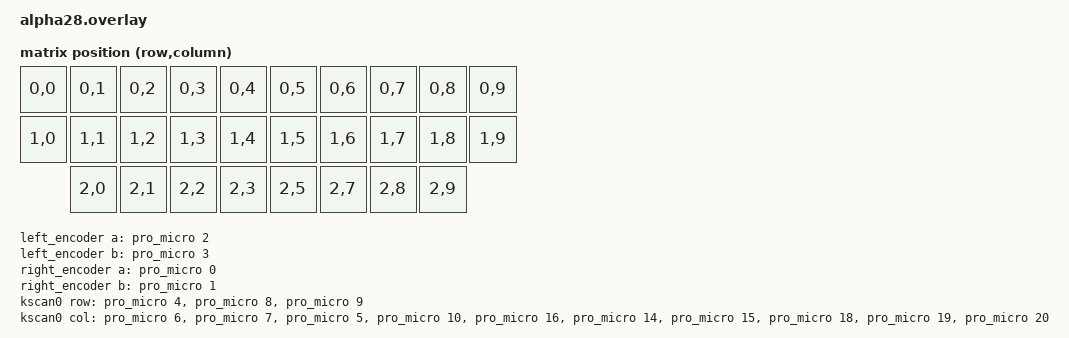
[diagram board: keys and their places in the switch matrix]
#include <dt-bindings/zmk/matrix_transform.h>
#include <dt-bindings/led/led.h>
/ {
    chosen {
        zmk,underglow = &led_strip;
        zmk,kscan = &kscan0;
        zmk,matrix_transform = &default_transform;
    };

    left_encoder: encoder_left {
        compatible = "alps,ec11";
        label = "LEFT_ENCODER";
        a-gpios = <&pro_micro 2 (GPIO_ACTIVE_HIGH  | GPIO_PULL_UP)>;
        b-gpios = <&pro_micro 3 (GPIO_ACTIVE_HIGH  | GPIO_PULL_UP)>;
        steps = <80>;
    };

    right_encoder: encoder_right {
        compatible = "alps,ec11";
        label = "RIGHT_ENCODER";
        a-gpios = <&pro_micro 0 (GPIO_ACTIVE_HIGH  | GPIO_PULL_UP)>;
        b-gpios = <&pro_micro 1 (GPIO_ACTIVE_HIGH  | GPIO_PULL_UP)>;
        steps = <80>;
    };

    sensors {
        compatible = "zmk,keymap-sensors";
        sensors = <&left_encoder &right_encoder>;
        triggers-per-rotation = <20>;
    };

    default_transform: keymap_transform_0 {
        compatible = "zmk,matrix-transform";
        columns = <10>;
        rows = <3>;

        map = <
            RC(0,0) RC(0,1) RC(0,2) RC(0,3) RC(0,4) RC(0,5) RC(0,6) RC(0,7) RC(0,8) RC(0,9)
            RC(1,0) RC(1,1) RC(1,2) RC(1,3) RC(1,4) RC(1,5) RC(1,6) RC(1,7) RC(1,8) RC(1,9)
                    RC(2,0) RC(2,1) RC(2,2) RC(2,3) RC(2,5) RC(2,7) RC(2,8) RC(2,9)
        >;
    };

    kscan0: kscan_0 {
        compatible = "zmk,kscan-gpio-matrix";
        label = "KSCAN";
        diode-direction = "col2row";

        col-gpios
        = <&pro_micro 6 GPIO_ACTIVE_HIGH>
        , <&pro_micro 7 GPIO_ACTIVE_HIGH>
        , <&pro_micro 5 GPIO_ACTIVE_HIGH>
        , <&pro_micro 10 GPIO_ACTIVE_HIGH>
        , <&pro_micro 16 GPIO_ACTIVE_HIGH>
        , <&pro_micro 14 GPIO_ACTIVE_HIGH>
        , <&pro_micro 15 GPIO_ACTIVE_HIGH>
        , <&pro_micro 18 GPIO_ACTIVE_HIGH>
        , <&pro_micro 19 GPIO_ACTIVE_HIGH>
        , <&pro_micro 20 GPIO_ACTIVE_HIGH>
        ;

        row-gpios
            = <&pro_micro 4 (GPIO_ACTIVE_HIGH | GPIO_PULL_DOWN)>
            , <&pro_micro 8 (GPIO_ACTIVE_HIGH | GPIO_PULL_DOWN)>
            , <&pro_micro 9 (GPIO_ACTIVE_HIGH | GPIO_PULL_DOWN)>
            ;
        };
};

&pinctrl {
    spi3_default: spi3_default {
    group1 {
    psels = <NRF_PSEL(SPIM_MOSI, 0, 30)>;
    };
    qdec_default: qdec_default {
        group1 {
            psels = <NRF_PSEL(QDEC_A, 0, 15)>,
                    <NRF_PSEL(QDEC_B, 0, 17)>;
            bias-pull-up;
        };
    };
};

// Set up the QDEC hardware based driver and give it the same label as the deleted node.
&qdec0 {
    status = "okay";
    led-pre = <0>;
    steps = <80>;
    pinctrl-0 = <&qdec_default>;
    pinctrl-names = "default";
};

spi3_sleep: spi3_sleep {
    group1 {
        psels = <NRF_PSEL(SPIM_MOSI, 0, 30)>;
        low-power-enable;
        };
    };
};

&spi3 {
    compatible = "nordic,nrf-spim";
    status = "okay";

    pinctrl-0 = <&spi3_default>;
    pinctrl-1 = <&spi3_sleep>;
    pinctrl-names = "default", "sleep";

    led_strip: ws2812@0 {
        compatible = "worldsemi,ws2812-spi";
        label = "WS2812";

        /* SPI */
        reg = <0>; /* ignored, but necessary for SPI bindings */
        spi-max-frequency = <4000000>;

        /* WS2812 */
        chain-length = <8>; /* number of LEDs */
        spi-one-frame = <0x70>;
        spi-zero-frame = <0x40>;
        color-mapping = <LED_COLOR_ID_GREEN LED_COLOR_ID_RED LED_COLOR_ID_BLUE>;
    };
};
